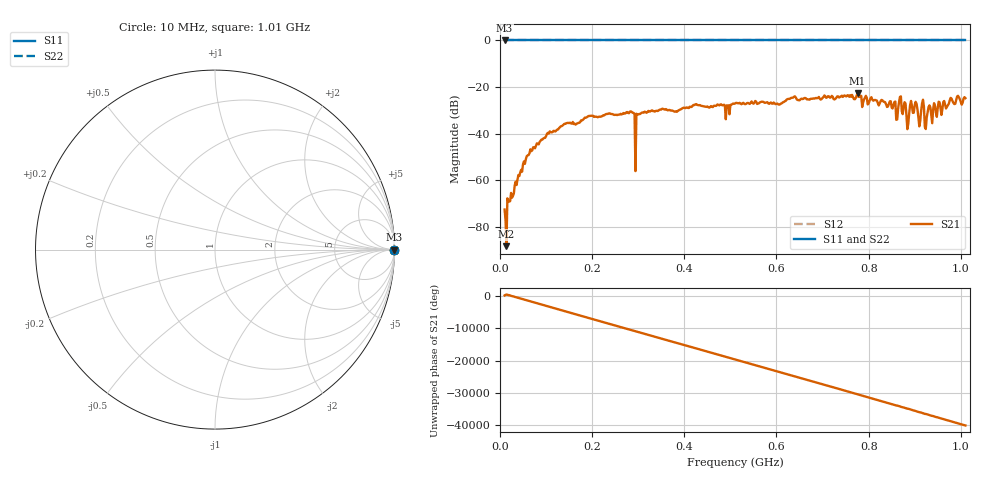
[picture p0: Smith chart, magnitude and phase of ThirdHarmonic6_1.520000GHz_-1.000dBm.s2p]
! 8/16/2025 5:56:42 PM
! C:\ANRITSUVNA\TEMP\TEMP.S2P
! CHANNEL.1
! TR.MEASUREMENT
! RAW.DATA
! RF.CORRECTION.OFF
! AVERAGING.OFF
! IF.BANDWIDTH: 5KHZ
! SWEEPTYPE:  FREQ.SWEEP(Linear)
! Reference Plane Port Info
! PORT:  PORT1  PORT2
! DISTANCE:  0  m  0  m
! TIME:  0  s  0  s
! PHASE.OFFSET:  0  deg.  0  deg.
! LOSS:  0  dB  0  dB
! REF.LOSS:  0  dB  0  dB
! REF.FREQ:  0  Hz  0  Hz
! Power Info
! POWER:  -20  dBm  -20  dBm
! EFF.POWER:  -20  dBm  -20  dBm
! SOURCE.ATTEN:  0  dB  0  dB
! TEST.ATTEN:  0  dB  0  dB
# GHZ S RI R 50.0
! FREQ.GHZ  S11RE  S11IM  S21RE  S21IM  S12RE  S12IM  S22RE  S22IM
!; PortSelection: Port_12
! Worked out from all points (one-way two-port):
!   501 points, 10 MHz to 1.01 GHz, reference 50 ohm
!   highest |S21| = -22.54 dB at 776 MHz (marker M1); lowest = -88.2 dB at 14 MHz (marker M2)
!   lowest |S11| = 0.0 dB at 10 MHz (marker M3)
!   |S11| at or under -10 dB: nowhere
!   |S22| runs from 0.0 to 0.0 dB; largest |S21 - S12| = 1.1
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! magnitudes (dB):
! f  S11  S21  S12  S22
! 10 MHz  0.0  -72.5  0.0  0.0
! 14 MHz  0.0  -88.2  0.0  0.0
! 70 MHz  0.0  -47.1  0.0  0.0
! 178 MHz  0.0  -34.3  0.0  0.0
! 286 MHz  0.0  -30.7  0.0  0.0
! 290 MHz  0.0  -31.1  0.0  0.0
! 298 MHz  0.0  -31.8  0.0  0.0
! 300 MHz  0.0  -31.7  0.0  0.0
! 344 MHz  0.0  -30.0  0.0  0.0
! 510 MHz  0.0  -27.0  0.0  0.0
! 678 MHz  0.0  -25.0  0.0  0.0
! 776 MHz  0.0  -22.5  0.0  0.0
! 844 MHz  0.0  -27.2  0.0  0.0
! 862 MHz  0.0  -33.9  0.0  0.0
! 868 MHz  0.0  -24.2  0.0  0.0
! 886 MHz  0.0  -35.8  0.0  0.0
! 892 MHz  0.0  -25.9  0.0  0.0
! 910 MHz  0.0  -36.8  0.0  0.0
! 916 MHz  0.0  -26.9  0.0  0.0
! 926 MHz  0.0  -33.1  0.0  0.0
! 930 MHz  0.0  -28.6  0.0  0.0
! 1.01 GHz  0.0  -24.7  0.0  0.0
